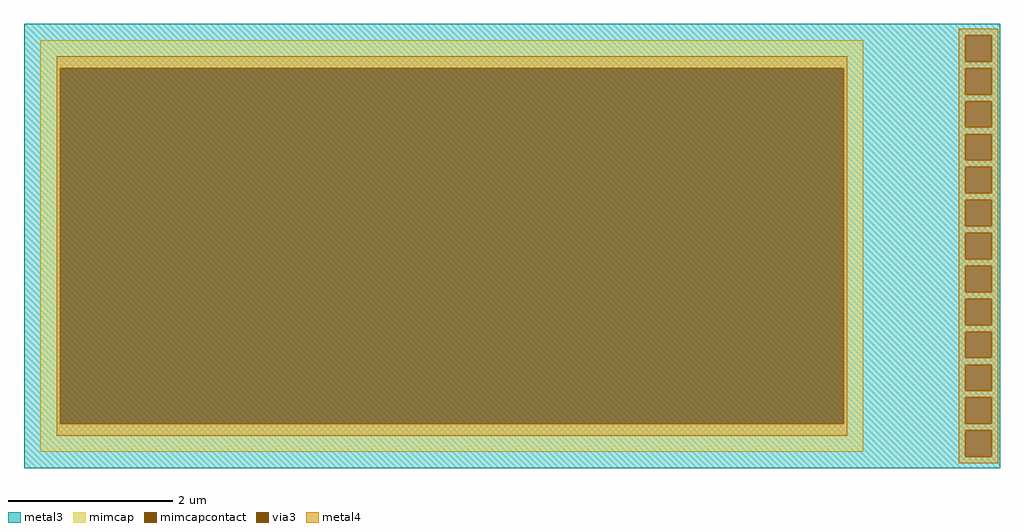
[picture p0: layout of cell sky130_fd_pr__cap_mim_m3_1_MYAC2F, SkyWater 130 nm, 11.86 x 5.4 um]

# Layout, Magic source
magic
tech sky130A
magscale 1 2
<< metal3 >>
rect -1186 512 1186 540
rect -1186 448 1102 512
rect 1166 448 1186 512
rect -1186 432 1186 448
rect -1186 368 1102 432
rect 1166 368 1186 432
rect -1186 352 1186 368
rect -1186 288 1102 352
rect 1166 288 1186 352
rect -1186 272 1186 288
rect -1186 208 1102 272
rect 1166 208 1186 272
rect -1186 192 1186 208
rect -1186 128 1102 192
rect 1166 128 1186 192
rect -1186 112 1186 128
rect -1186 48 1102 112
rect 1166 48 1186 112
rect -1186 32 1186 48
rect -1186 -32 1102 32
rect 1166 -32 1186 32
rect -1186 -48 1186 -32
rect -1186 -112 1102 -48
rect 1166 -112 1186 -48
rect -1186 -128 1186 -112
rect -1186 -192 1102 -128
rect 1166 -192 1186 -128
rect -1186 -208 1186 -192
rect -1186 -272 1102 -208
rect 1166 -272 1186 -208
rect -1186 -288 1186 -272
rect -1186 -352 1102 -288
rect 1166 -352 1186 -288
rect -1186 -368 1186 -352
rect -1186 -432 1102 -368
rect 1166 -432 1186 -368
rect -1186 -448 1186 -432
rect -1186 -512 1102 -448
rect 1166 -512 1186 -448
rect -1186 -540 1186 -512
<< via3 >>
rect 1102 448 1166 512
rect 1102 368 1166 432
rect 1102 288 1166 352
rect 1102 208 1166 272
rect 1102 128 1166 192
rect 1102 48 1166 112
rect 1102 -32 1166 32
rect 1102 -112 1166 -48
rect 1102 -192 1166 -128
rect 1102 -272 1166 -208
rect 1102 -352 1166 -288
rect 1102 -432 1166 -368
rect 1102 -512 1166 -448
<< mimcap >>
rect -1146 432 854 500
rect -1146 -432 -1098 432
rect 806 -432 854 432
rect -1146 -500 854 -432
<< mimcapcontact >>
rect -1098 -432 806 432
<< metal4 >>
rect 1086 512 1182 528
rect -1107 432 815 461
rect -1107 -432 -1098 432
rect 806 -432 815 432
rect -1107 -461 815 -432
rect 1086 448 1102 512
rect 1166 448 1182 512
rect 1086 432 1182 448
rect 1086 368 1102 432
rect 1166 368 1182 432
rect 1086 352 1182 368
rect 1086 288 1102 352
rect 1166 288 1182 352
rect 1086 272 1182 288
rect 1086 208 1102 272
rect 1166 208 1182 272
rect 1086 192 1182 208
rect 1086 128 1102 192
rect 1166 128 1182 192
rect 1086 112 1182 128
rect 1086 48 1102 112
rect 1166 48 1182 112
rect 1086 32 1182 48
rect 1086 -32 1102 32
rect 1166 -32 1182 32
rect 1086 -48 1182 -32
rect 1086 -112 1102 -48
rect 1166 -112 1182 -48
rect 1086 -128 1182 -112
rect 1086 -192 1102 -128
rect 1166 -192 1182 -128
rect 1086 -208 1182 -192
rect 1086 -272 1102 -208
rect 1166 -272 1182 -208
rect 1086 -288 1182 -272
rect 1086 -352 1102 -288
rect 1166 -352 1182 -288
rect 1086 -368 1182 -352
rect 1086 -432 1102 -368
rect 1166 -432 1182 -368
rect 1086 -448 1182 -432
rect 1086 -512 1102 -448
rect 1166 -512 1182 -448
rect 1086 -528 1182 -512
<< properties >>
string FIXED_BBOX -1186 -540 894 540
<< end >>
